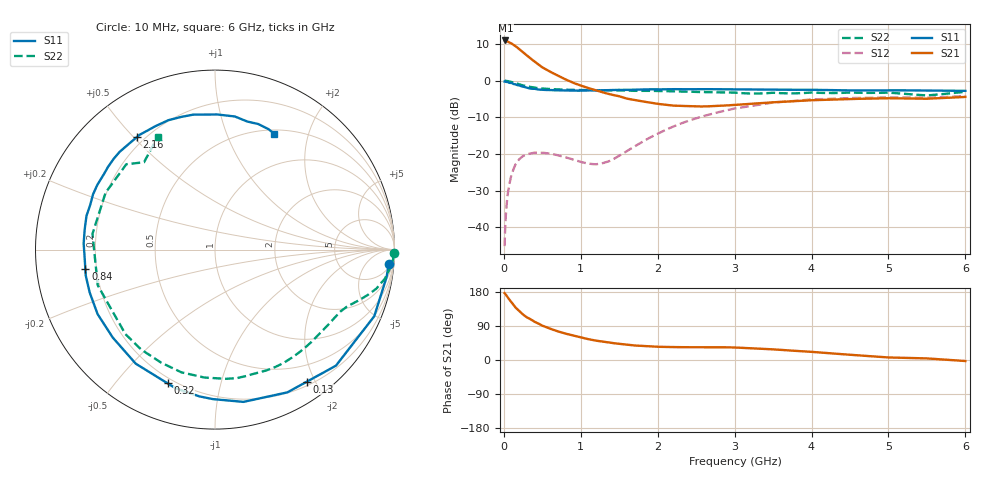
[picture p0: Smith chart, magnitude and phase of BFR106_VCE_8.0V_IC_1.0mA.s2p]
! Infineon Technologies  Discrete & RF Semiconductors
! BFR106
! VCE =  8.0 V,  IC =  1.0 mA
! Common Emitter S-Parameters:  Nov 2015
# GHz  S  MA  R  50
!  f  S11  S21  S12  S22
! GHz  MAG  ANG  MAG  ANG  MAG  ANG  MAG  ANG
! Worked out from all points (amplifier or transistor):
!   210 points, 10 MHz to 6 GHz, reference 50 ohm
!   highest |S21| = 11.0 dB at 20 MHz (marker M1)
!   |S21| within 3 dB of that: start of sweep to 235.8 MHz
!   unconditionally stable (mu >= 1): 855.4 MHz to 1.864 GHz; 3.019 GHz to end of sweep
!   at 185 MHz: K = 0.20, MSG = 15.4 dB, |S12| = -21.9 dB
!   at 1.52 GHz: K = 1.28, MAG = 4.8 dB, |S12| = -20.3 dB
!   at 6 GHz: K = 1.02, MAG = -0.9 dB, |S12| = -4.2 dB
!   S11 on the Smith chart (normalised r, x): 10 MHz: 8, -22; 130 MHz: 0.25, -1.89; 320 MHz: 0.17, -0.69; 840 MHz: 0.16, -0.07; 2.16 GHz: 0.17, +0.51; 6 GHz: 0.55, +1.49
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0.01  0.9715 -4.6  3.499 176.4  0.0055 87.2  0.9999 -1.1
0.02  0.9683 -9.1  3.534 174.2  0.0111 84.9  0.9968 -2.1
0.05  0.9619 -22.7  3.426 164.9  0.028 77.5  0.9869 -5.2
0.1  0.934 -43.8  3.222 152.0  0.0522 66.1  0.9604 -9.7
0.13  0.8962 -55.2  3.053 144.3  0.0634 58.6  0.9385 -12.0
0.15  0.8918 -63.1  2.974 138.8  0.0713 54.9  0.9248 -13.6
0.2  0.8632 -79.4  2.701 129.1  0.0845 47.3  0.8909 -16.3
0.26  0.8224 -96.1  2.382 118.4  0.0948 39.2  0.8554 -19.0
0.32  0.7905 -109.5  2.114 110.5  0.0998 33.5  0.8292 -21.0
0.4  0.7739 -124.8  1.818 100.8  0.104 27.2  0.8005 -23.4
0.5  0.7514 -139.3  1.518 90.6  0.1038 22.2  0.7794 -26.3
0.7  0.738 -161.1  1.174 75.7  0.0959 18.5  0.7594 -32.6
0.84  0.7304 -171.4  0.998 67.7  0.0875 20.1  0.7496 -37.2
1.02  0.7323 176.0  0.842 58.6  0.0767 27.8  0.744 -43.7
1.4  0.7459 155.7  0.643 45.1  0.0819 62.9  0.7382 -58.5
2.02  0.7596 129.8  0.479 34.8  0.1933 79.7  0.7209 -86.1
2.16  0.7631 124.8  0.461 34.3  0.2261 78.1  0.7152 -92.8
3.1  0.7581 97.3  0.474 32.0  0.4312 55.2  0.674 -141.9
3.5  0.753 89.0  0.506 28.1  0.5025 44.7  0.683 -163.1
4.1  0.7464 80.4  0.544 19.9  0.5579 29.4  0.6812 168.7
5.1  0.7384 70.0  0.573 6.2  0.5885 10.6  0.6732 134.8
6  0.725 62.9  0.599 -2.7  0.6159 -1.0  0.7043 117.0
